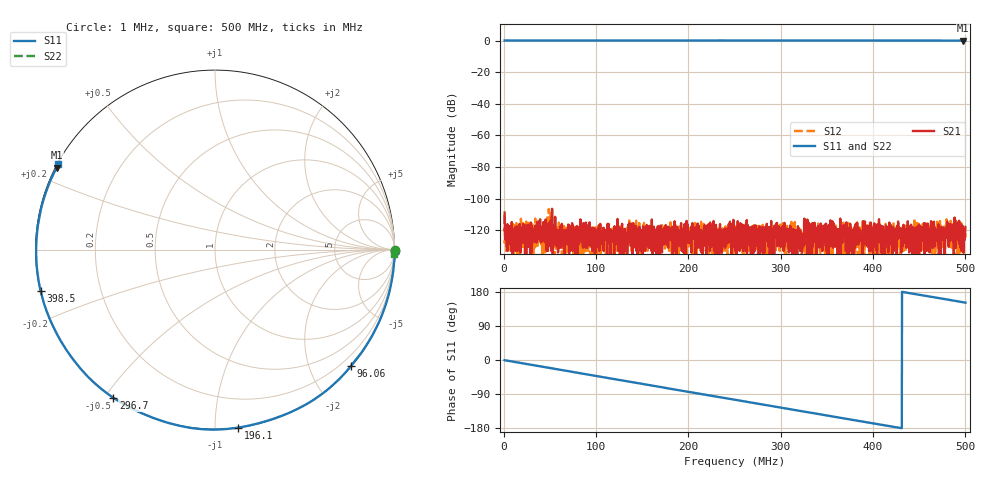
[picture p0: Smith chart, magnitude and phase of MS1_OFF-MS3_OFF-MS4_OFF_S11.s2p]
! MS46122B
! 1746301/73750021
! 11/3/2023 2:37:15 PM
! C:\USERS\SPEGWAL\DOWNLOADS\SAURABH\REACH\NODES\FRONT END\MEASUREMENTS\MEASURED S-PARAMETERS_03-11-2023\MS3-MS4_MS1_CABLE\MS1_OFF-MS3_OFF-MS4_OFF_S11.S2P
! CHANNEL.1
! TR.MEASUREMENT
! CORRECTED.DATA
# GHZ S RI R 50.0
! FREQ.GHZ  S11RE  S11IM  S21RE  S21IM  S12RE  S12IM  S22RE  S22IM
!; PortSelection: Port_12
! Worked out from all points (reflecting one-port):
!   2001 points, 1 MHz to 500 MHz, reference 50 ohm
!   lowest |S11| = -0.1 dB at 497 MHz (marker M1), VSWR 318.31, Z = 0.166 + j12.2 ohm
!   phase of S11 starts at -0 deg and turns -208 deg over the sweep
!   S11 on the Smith chart (normalised r, x): 1 MHz: open; 96.06 MHz: 0.01, -2.71; 196.1 MHz: 0.00, -1.14; 296.7 MHz: -0.00, -0.53; 398.5 MHz: 0.00, -0.12; 500 MHz: 0.00, +0.26
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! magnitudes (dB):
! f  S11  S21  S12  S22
! 1 MHz  0.0  -108.7  -110.4  0.0
! 11.23 MHz  0.0  -122.8  -122.1  0.0
! 44.41 MHz  0.0  -118.9  -123.1  0.0
! 84.33 MHz  0.0  -124.7  -120.7  0.0
! 91.32 MHz  0.0  -127.7  -118.9  0.0
! 96.06 MHz  0.0  -133.0  -126.0  0.0
! 106.8 MHz  0.0  -128.9  -127.7  0.0
! 128.5 MHz  0.0  -130.0  -120.0  0.0
! 167.4 MHz  0.0  -119.8  -126.0  0.0
! 181.6 MHz  0.0  -122.4  -125.9  0.0
! 196.1 MHz  0.0  -140.0  -122.8  0.0
! 224.3 MHz  0.0  -126.0  -124.7  0.0
! 250.5 MHz  0.0  -123.5  -122.8  0.0
! 272 MHz  0.0  -118.3  -126.0  0.0
! 296.7 MHz  0.0  -117.1  -123.5  0.0
! 314.9 MHz  0.0  -122.8  -115.8  0.0
! 333.8 MHz  0.0  -126.0  -122.8  0.0
! 362 MHz  0.0  -119.4  -124.0  0.0
! 398.5 MHz  0.0  -127.0  -119.0  0.0
! 416.9 MHz  0.0  -124.3  -127.7  0.0
! 497 MHz  -0.1  -117.1  -125.4  0.0
! 500 MHz  -0.1  -117.9  -121.7  0.0
